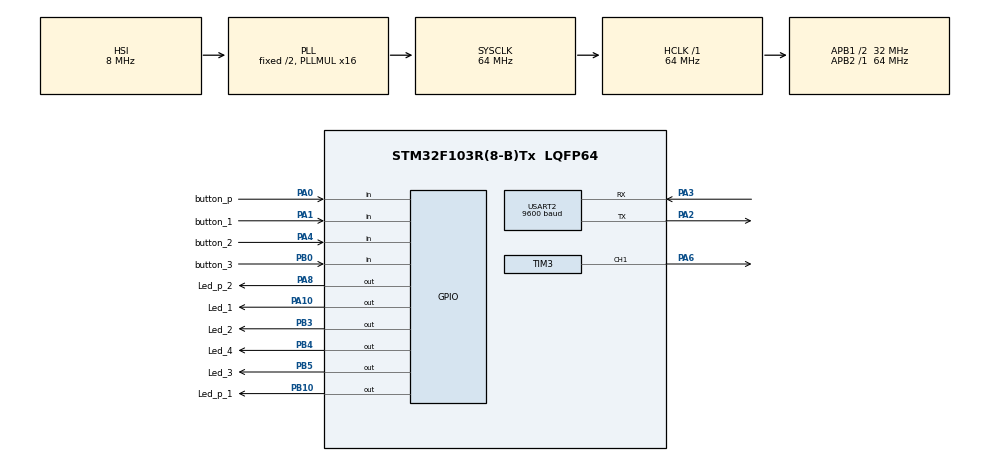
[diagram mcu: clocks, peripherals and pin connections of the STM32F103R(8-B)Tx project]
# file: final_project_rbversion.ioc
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Mcu.Family=STM32F1
Mcu.Name=STM32F103R(8-B)Tx
Mcu.Package=LQFP64
NVIC.PriorityGroup=NVIC_PRIORITYGROUP_4
NVIC.TIM2_IRQn=true\:0\:0\:false\:false\:true\:true\:true
NVIC.TIM3_IRQn=true\:0\:0\:false\:false\:true\:true\:true
PA0-WKUP.GPIO_Label=button_p
PA0-WKUP.GPIO_PuPd=GPIO_PULLUP
PA0-WKUP.Signal=GPIO_Input
PA1.GPIO_Label=button_1
PA1.GPIO_PuPd=GPIO_PULLUP
PA1.Signal=GPIO_Input
PA10.GPIO_Label=Led_1
PA10.GPIO_PuPd=GPIO_NOPULL
PA10.Signal=GPIO_Output
PA13.Mode=Serial_Wire
PA13.Signal=SYS_JTMS-SWDIO
PA14.Mode=Serial_Wire
PA14.Signal=SYS_JTCK-SWCLK
PA2.Mode=Asynchronous
PA2.Signal=USART2_TX
PA3.Mode=Asynchronous
PA3.Signal=USART2_RX
PA4.GPIO_Label=button_2
PA4.GPIO_PuPd=GPIO_PULLUP
PA4.Signal=GPIO_Input
PA6.Signal=S_TIM3_CH1
PA8.GPIO_Label=Led_p_2
PA8.Signal=GPIO_Output
PB0.GPIO_Label=button_3
PB0.GPIO_PuPd=GPIO_PULLUP
PB0.Signal=GPIO_Input
PB10.GPIO_Label=Led_p_1
PB10.Signal=GPIO_Output
PB3.GPIO_Label=Led_2
PB3.GPIO_PuPd=GPIO_NOPULL
PB3.Signal=GPIO_Output
PB4.GPIO_Label=Led_4
PB4.Signal=GPIO_Output
PB5.GPIO_Label=Led_3
PB5.Signal=GPIO_Output
ProjectManager.HeapSize=0x200
ProjectManager.StackSize=0x400
ProjectManager.TargetToolchain=STM32CubeIDE
RCC.AHBFreq_Value=64000000
RCC.APB1CLKDivider=RCC_HCLK_DIV2
RCC.APB1Freq_Value=32000000
RCC.APB1TimFreq_Value=64000000
RCC.APB2Freq_Value=64000000
RCC.APB2TimFreq_Value=64000000
RCC.HCLKFreq_Value=64000000
RCC.PLLMUL=RCC_PLL_MUL16
RCC.SYSCLKFreq_VALUE=64000000
RCC.SYSCLKSource=RCC_SYSCLKSOURCE_PLLCLK
RCC.USBFreq_Value=64000000
SH.S_TIM3_CH1.0=TIM3_CH1,PWM Generation1 CH1
TIM2.Period=63
TIM2.Prescaler=9999
TIM3.Channel-PWM\ Generation1\ CH1=TIM_CHANNEL_1
TIM3.Period=999
TIM3.Prescaler=63
USART2.BaudRate=9600
USART2.VirtualMode=VM_ASYNC
VP_TIM2_VS_ClockSourceINT.Mode=Internal
VP_TIM3_VS_ClockSourceINT.Mode=Internal
board=custom

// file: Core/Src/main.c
/* USER CODE BEGIN Header */
/**
  ******************************************************************************
  * @file           : main.c
  * @brief          : Main program body
  ******************************************************************************
  * @attention
  *
  * <h2><center>&copy; Copyright (c) 2022 STMicroelectronics.
  * All rights reserved.</center></h2>
  *
  * This software component is licensed by ST under BSD 3-Clause license,
  * the "License"; You may not use this file except in compliance with the
  * License. You may obtain a copy of the License at:
  *                        opensource.org/licenses/BSD-3-Clause
  *
  ******************************************************************************
  */
/* USER CODE END Header */
#include "main.h"

/* USER CODE BEGIN Includes */
#include "global.h"
#include "input_reading.h"
#include "SOFTWARE_TIMER.h"
#include "scheduler.h"
#include "fsm_automatic.h"
#include "fsm_manual.h"
#include "fsm_pedestrian.h"
#include "fsm_tunning.h"
#include "advanced_scheduler.h"
/* USER CODE END Includes */

TIM_HandleTypeDef htim2;
TIM_HandleTypeDef htim3;

UART_HandleTypeDef huart2;

void SystemClock_Config(void);
static void MX_GPIO_Init(void);
static void MX_TIM2_Init(void);
static void MX_TIM3_Init(void);
static void MX_USART2_UART_Init(void);
/* USER CODE BEGIN PFP */
void output_checking()
{
	char str[30];
	int temp = getTimer1();
	HAL_UART_Transmit(&huart2, str, sprintf(str, "%d\n\r",temp), 1000);
}
void space()
{
	char str[30];
	HAL_UART_Transmit(&huart2, str, sprintf(str, "%---------------\n\r"), 1000);
}
void output_error(int temp)
{
	char str[30];
	HAL_UART_Transmit(&huart2, str, sprintf(str, "%d\n\r", temp), 1000);
}
void output_time(int index, int time)
{
	char str[30];
	char arr[2][20] = {"Green time","Yellow time"};
	HAL_UART_Transmit(&huart2, str, sprintf(str, "%s: %d\n\r",arr[index],time/1000), 1000);
}
void change_mode(int index)
{
	char arr[3][20] = {"Auto mode","Manual mode", "Tuning mode"};
	char str[30];
	HAL_UART_Transmit(&huart2, str, sprintf(str, "Change to %s\n\r", arr[index]), 1000);
}

void display_time(int time1, int time2)
{
	char str[50];
	HAL_UART_Transmit(&huart2, str, sprintf(str, "road1: %d road2: %d\n\r",time1, time2), 1000);
}

void sound_loud(int frequency)
{
		__HAL_TIM_SetCompare (&htim3, TIM_CHANNEL_1, frequency);
}

/* USER CODE END PFP */

int main(void)
{

  /* MCU Configuration--------------------------------------------------------*/

  /* Reset of all peripherals, Initializes the Flash interface and the Systick. */
  HAL_Init();

  /* Configure the system clock */
  SystemClock_Config();

  /* USER CODE BEGIN SysInit */
  MX_GPIO_Init ();
  /* USER CODE END SysInit */

  /* Initialize all configured peripherals */
  MX_GPIO_Init();
  MX_TIM2_Init();
  MX_TIM3_Init();
  MX_USART2_UART_Init();
  /* USER CODE BEGIN 2 */
  HAL_TIM_PWM_Start(&htim3, TIM_CHANNEL_1);
  HAL_TIM_Base_Start_IT (& htim2 ) ;
  /* USER CODE END 2 */

  /* Infinite loop */
  /* USER CODE BEGIN WHILE */
  //initial state ===================================================================
  Reset();
  Reset_p();
  adv_SCH_Init();
  status1 = 0;
  set_green_time(5000);
  set_yellow_time(5000);
  set_timeout_duration(20000);
  set_pedestrian_duration(60000);
  //adding  tasks======================================================================
  adv_SCH_Add_Task(button_reading, 0, 10);
  adv_SCH_Add_Task(timerRun, 0, 10);
  adv_SCH_Add_Task(fsm_automatic_run, 0, 10);
  adv_SCH_Add_Task(fsm_pedestrian, 0, 10);
  adv_SCH_Add_Task(fsm_manual_run, 0, 10);
  adv_SCH_Add_Task(fsm_tunning_run, 0, 10);
  //adv_SCH_Add_Task(output_checking, 0, 1000);
  //adv_SCH_Add_Task(count_down_show, 0, 1000);
  HAL_TIM_PWM_Start(&htim3, TIM_CHANNEL_1);
  while (1)
  {
     adv_SCH_Dispatch_Tasks();
    /* USER CODE END WHILE */

    /* USER CODE BEGIN 3 */
	  //HAL_Delay(3000);
  }
  /* USER CODE END 3 */
}

void SystemClock_Config(void)
{
  RCC_OscInitTypeDef RCC_OscInitStruct = {0};
  RCC_ClkInitTypeDef RCC_ClkInitStruct = {0};

  /** Initializes the RCC Oscillators according to the specified parameters
  * in the RCC_OscInitTypeDef structure.
  */
  RCC_OscInitStruct.OscillatorType = RCC_OSCILLATORTYPE_HSI;
  RCC_OscInitStruct.HSIState = RCC_HSI_ON;
  RCC_OscInitStruct.HSICalibrationValue = RCC_HSICALIBRATION_DEFAULT;
  RCC_OscInitStruct.PLL.PLLState = RCC_PLL_ON;
  RCC_OscInitStruct.PLL.PLLSource = RCC_PLLSOURCE_HSI_DIV2;
  RCC_OscInitStruct.PLL.PLLMUL = RCC_PLL_MUL16;
  if (HAL_RCC_OscConfig(&RCC_OscInitStruct) != HAL_OK)
  {
    Error_Handler();
  }
  /** Initializes the CPU, AHB and APB buses clocks
  */
  RCC_ClkInitStruct.ClockType = RCC_CLOCKTYPE_HCLK|RCC_CLOCKTYPE_SYSCLK
                              |RCC_CLOCKTYPE_PCLK1|RCC_CLOCKTYPE_PCLK2;
  RCC_ClkInitStruct.SYSCLKSource = RCC_SYSCLKSOURCE_PLLCLK;
  RCC_ClkInitStruct.AHBCLKDivider = RCC_SYSCLK_DIV1;
  RCC_ClkInitStruct.APB1CLKDivider = RCC_HCLK_DIV2;
  RCC_ClkInitStruct.APB2CLKDivider = RCC_HCLK_DIV1;

  if (HAL_RCC_ClockConfig(&RCC_ClkInitStruct, FLASH_LATENCY_2) != HAL_OK)
  {
    Error_Handler();
  }
}

static void MX_TIM2_Init(void)
{

  TIM_ClockConfigTypeDef sClockSourceConfig = {0};
  TIM_MasterConfigTypeDef sMasterConfig = {0};

  htim2.Instance = TIM2;
  htim2.Init.Prescaler = 9999;
  htim2.Init.CounterMode = TIM_COUNTERMODE_UP;
  htim2.Init.Period = 63;
  htim2.Init.ClockDivision = TIM_CLOCKDIVISION_DIV1;
  htim2.Init.AutoReloadPreload = TIM_AUTORELOAD_PRELOAD_DISABLE;
  if (HAL_TIM_Base_Init(&htim2) != HAL_OK)
  {
    Error_Handler();
  }
  sClockSourceConfig.ClockSource = TIM_CLOCKSOURCE_INTERNAL;
  if (HAL_TIM_ConfigClockSource(&htim2, &sClockSourceConfig) != HAL_OK)
  {
    Error_Handler();
  }
  sMasterConfig.MasterOutputTrigger = TIM_TRGO_RESET;
  sMasterConfig.MasterSlaveMode = TIM_MASTERSLAVEMODE_DISABLE;
  if (HAL_TIMEx_MasterConfigSynchronization(&htim2, &sMasterConfig) != HAL_OK)
  {
    Error_Handler();
  }

}

static void MX_TIM3_Init(void)
{

  TIM_ClockConfigTypeDef sClockSourceConfig = {0};
  TIM_MasterConfigTypeDef sMasterConfig = {0};
  TIM_OC_InitTypeDef sConfigOC = {0};

  htim3.Instance = TIM3;
  htim3.Init.Prescaler = 63;
  htim3.Init.CounterMode = TIM_COUNTERMODE_UP;
  htim3.Init.Period = 999;
  htim3.Init.ClockDivision = TIM_CLOCKDIVISION_DIV1;
  htim3.Init.AutoReloadPreload = TIM_AUTORELOAD_PRELOAD_DISABLE;
  if (HAL_TIM_Base_Init(&htim3) != HAL_OK)
  {
    Error_Handler();
  }
  sClockSourceConfig.ClockSource = TIM_CLOCKSOURCE_INTERNAL;
  if (HAL_TIM_ConfigClockSource(&htim3, &sClockSourceConfig) != HAL_OK)
  {
    Error_Handler();
  }
  if (HAL_TIM_PWM_Init(&htim3) != HAL_OK)
  {
    Error_Handler();
  }
  sMasterConfig.MasterOutputTrigger = TIM_TRGO_RESET;
  sMasterConfig.MasterSlaveMode = TIM_MASTERSLAVEMODE_DISABLE;
  if (HAL_TIMEx_MasterConfigSynchronization(&htim3, &sMasterConfig) != HAL_OK)
  {
    Error_Handler();
  }
  sConfigOC.OCMode = TIM_OCMODE_PWM1;
  sConfigOC.Pulse = 0;
  sConfigOC.OCPolarity = TIM_OCPOLARITY_HIGH;
  sConfigOC.OCFastMode = TIM_OCFAST_DISABLE;
  if (HAL_TIM_PWM_ConfigChannel(&htim3, &sConfigOC, TIM_CHANNEL_1) != HAL_OK)
  {
    Error_Handler();
  }
  HAL_TIM_MspPostInit(&htim3);

}

static void MX_USART2_UART_Init(void)
{

  huart2.Instance = USART2;
  huart2.Init.BaudRate = 9600;
  huart2.Init.WordLength = UART_WORDLENGTH_8B;
  huart2.Init.StopBits = UART_STOPBITS_1;
  huart2.Init.Parity = UART_PARITY_NONE;
  huart2.Init.Mode = UART_MODE_TX_RX;
  huart2.Init.HwFlowCtl = UART_HWCONTROL_NONE;
  huart2.Init.OverSampling = UART_OVERSAMPLING_16;
  if (HAL_UART_Init(&huart2) != HAL_OK)
  {
    Error_Handler();
  }

}

static void MX_GPIO_Init(void)
{
  GPIO_InitTypeDef GPIO_InitStruct = {0};

  /* GPIO Ports Clock Enable */
  __HAL_RCC_GPIOA_CLK_ENABLE();
  __HAL_RCC_GPIOB_CLK_ENABLE();

  /*Configure GPIO pin Output Level */
  HAL_GPIO_WritePin(GPIOB, Led_p_1_Pin|Led_2_Pin|Led_4_Pin|Led_3_Pin, GPIO_PIN_RESET);

  /*Configure GPIO pin Output Level */
  HAL_GPIO_WritePin(GPIOA, Led_p_2_Pin|Led_1_Pin, GPIO_PIN_RESET);

  /*Configure GPIO pins : button_p_Pin button_1_Pin button_2_Pin */
  GPIO_InitStruct.Pin = button_p_Pin|button_1_Pin|button_2_Pin;
  GPIO_InitStruct.Mode = GPIO_MODE_INPUT;
  GPIO_InitStruct.Pull = GPIO_PULLUP;
  HAL_GPIO_Init(GPIOA, &GPIO_InitStruct);

  /*Configure GPIO pin : button_3_Pin */
  GPIO_InitStruct.Pin = button_3_Pin;
  GPIO_InitStruct.Mode = GPIO_MODE_INPUT;
  GPIO_InitStruct.Pull = GPIO_PULLUP;
  HAL_GPIO_Init(button_3_GPIO_Port, &GPIO_InitStruct);

  /*Configure GPIO pins : Led_p_1_Pin Led_2_Pin Led_4_Pin Led_3_Pin */
  GPIO_InitStruct.Pin = Led_p_1_Pin|Led_2_Pin|Led_4_Pin|Led_3_Pin;
  GPIO_InitStruct.Mode = GPIO_MODE_OUTPUT_PP;
  GPIO_InitStruct.Pull = GPIO_NOPULL;
  GPIO_InitStruct.Speed = GPIO_SPEED_FREQ_LOW;
  HAL_GPIO_Init(GPIOB, &GPIO_InitStruct);

  /*Configure GPIO pins : Led_p_2_Pin Led_1_Pin */
  GPIO_InitStruct.Pin = Led_p_2_Pin|Led_1_Pin;
  GPIO_InitStruct.Mode = GPIO_MODE_OUTPUT_PP;
  GPIO_InitStruct.Pull = GPIO_NOPULL;
  GPIO_InitStruct.Speed = GPIO_SPEED_FREQ_LOW;
  HAL_GPIO_Init(GPIOA, &GPIO_InitStruct);

}

/* USER CODE BEGIN 4 */
void HAL_TIM_PeriodElapsedCallback ( TIM_HandleTypeDef * htim )
{
	//SCH_Update();
	adv_SCH_Update();
	global_time+=10;
}

/* USER CODE END 4 */

void Error_Handler(void)
{
  __disable_irq();
  while (1)
  {
  }
}

/************************ (C) COPYRIGHT STMicroelectronics *****END OF FILE****/
